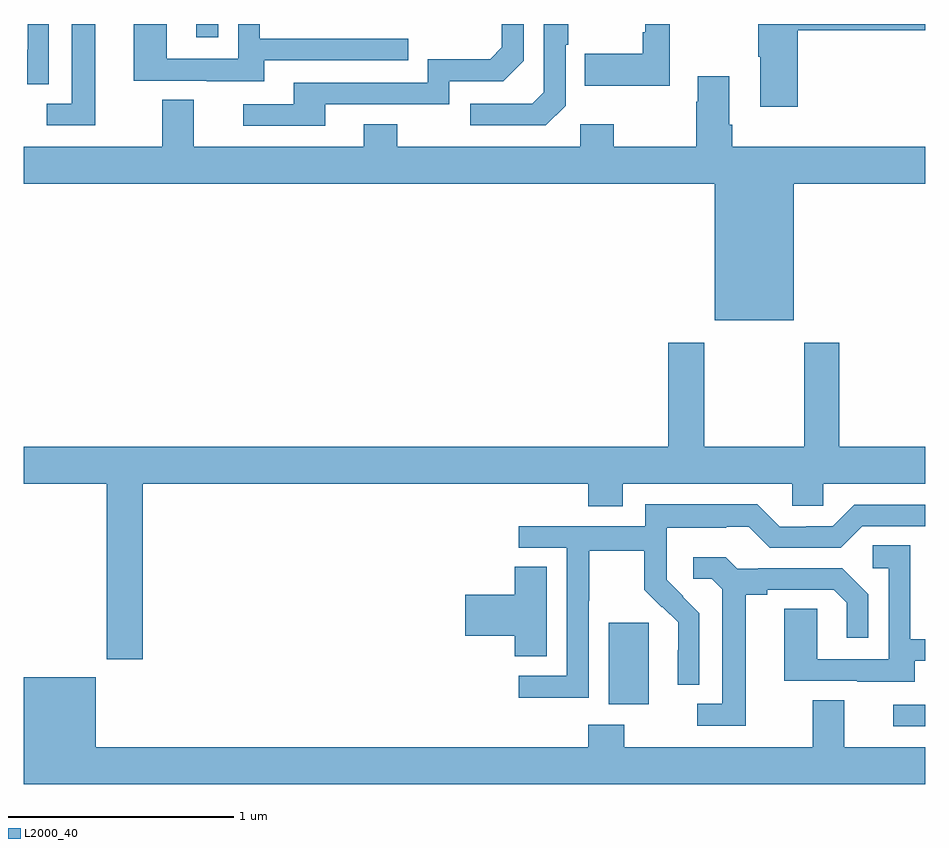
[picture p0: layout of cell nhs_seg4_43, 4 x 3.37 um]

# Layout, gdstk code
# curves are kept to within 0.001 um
import gdstk
lib = gdstk.Library(unit=1e-6, precision=1e-09)
def R(c, l, rs):  # rectangles x0, y0, x1, y1
    for r in rs: c.add(gdstk.rectangle(r[:2], r[2:], *l))
def P(c, l, *ps):  # polygons
    for p in ps: c.add(gdstk.Polygon(p, *l))
L2000_40 = (2000, 40)

nhs_seg4_43 = lib.new_cell('nhs_seg4_43')
R(nhs_seg4_43, L2000_40, [(116.859,755.784,117,755.88), (115.595,755.882,115.774,756.243), (113.765,758.841,113.862,758.9)])
P(nhs_seg4_43, L2000_40, [(116.435,758.872),(117,758.872),(117,758.9),(116.26,758.9),(116.26,758.755),(116.267,758.755),(116.267,758.532),(116.435,758.532)],
  [(115.404,758.538),(115.404,758.807),(115.417,758.807),(115.417,758.9),(115.308,758.9),(115.308,758.598),(115.257,758.547),(114.981,758.547),(114.981,758.451),(115.317,758.451)],
  [(113.112,758.9),(113.018,758.9),(113.018,758.786),(113.016,758.786),(113.016,758.632),(113.112,758.632)],
  [(114.067,758.739),(114.707,758.739),(114.707,758.835),(114.048,758.835),(114.048,758.9),(113.952,758.9),(113.952,758.745),(113.634,758.745),(113.634,758.9),(113.489,758.9),(113.489,758.649),(113.813,758.649),(113.813,758.645),(114.067,758.645)],
  [(115.867,758.9),(115.758,758.9),(115.758,758.863),(115.746,758.863),(115.746,758.767),(115.489,758.767),(115.489,758.627),(115.867,758.627)],
  [(114.337,758.544),(114.888,758.544),(114.888,758.646),(115.128,758.646),(115.218,758.736),(115.218,758.9),(115.122,758.9),(115.122,758.796),(115.069,758.743),(114.792,758.743),(114.792,758.64),(114.197,758.64),(114.197,758.544),(113.973,758.544),(113.973,758.448),(114.337,758.448)],
  [(113.317,758.9),(113.213,758.9),(113.213,758.547),(113.103,758.547),(113.103,758.451),(113.317,758.451)],
  [(116.416,758.192),(117,758.192),(117,758.356),(116.144,758.356),(116.144,758.452),(116.131,758.452),(116.131,758.668),(115.991,758.668),(115.991,758.555),(115.984,758.555),(115.984,758.356),(115.617,758.356),(115.617,758.455),(115.47,758.455),(115.47,758.356),(114.657,758.356),(114.657,758.455),(114.509,758.455),(114.509,758.356),(113.755,758.356),(113.755,758.564),(113.615,758.564),(113.615,758.356),(113,758.356),(113,758.192),(116.066,758.192),(116.066,757.586),(116.416,757.586)],
  [(113.528,756.86),(115.505,756.86),(115.505,756.761),(115.657,756.761),(115.657,756.86),(116.409,756.86),(116.409,756.762),(116.547,756.762),(116.547,756.86),(117,756.86),(117,757.024),(116.619,757.024),(116.619,757.486),(116.464,757.486),(116.464,757.024),(116.019,757.024),(116.019,757.486),(115.859,757.486),(115.859,757.024),(113,757.024),(113,756.86),(113.368,756.86),(113.368,756.081),(113.528,756.081)],
  [(115.506,756.34),(115.509,756.34),(115.509,756.564),(115.753,756.564),(115.753,756.389),(115.83,756.312),(115.833,756.315),(115.904,756.245),(115.904,756.122),(115.902,756.122),(115.902,755.968),(115.998,755.968),(115.998,756.286),(115.852,756.434),(115.852,756.531),(115.854,756.531),(115.854,756.665),(116.117,756.665),(116.117,756.669),(116.217,756.669),(116.31,756.576),(116.625,756.576),(116.721,756.672),(117,756.672),(117,756.768),(116.685,756.768),(116.589,756.672),(116.471,756.672),(116.471,756.669),(116.355,756.669),(116.255,756.769),(115.758,756.769),(115.758,756.672),(115.197,756.672),(115.197,756.576),(115.41,756.576),(115.41,756.009),(115.197,756.009),(115.197,755.911),(115.506,755.911)],
  [(116.953,756.075),(117,756.075),(117,756.171),(116.934,756.171),(116.934,756.587),(116.766,756.587),(116.766,756.486),(116.838,756.486),(116.838,756.081),(116.52,756.081),(116.52,756.305),(116.375,756.305),(116.375,755.985),(116.699,755.985),(116.699,755.981),(116.953,755.981)],
  [(116.203,756.368),(116.299,756.368),(116.299,756.39),(116.594,756.39),(116.651,756.333),(116.651,756.177),(116.748,756.177),(116.748,756.37),(116.632,756.486),(116.26,756.486),(116.26,756.483),(116.166,756.483),(116.114,756.535),(115.971,756.535),(115.971,756.438),(116.052,756.438),(116.099,756.391),(116.099,755.883),(115.989,755.883),(115.989,755.787),(116.203,755.787)],
  [(115.321,756.491),(115.178,756.491),(115.178,756.368),(114.96,756.368),(114.96,756.185),(115.178,756.185),(115.178,756.094),(115.321,756.094)],
  [(117,755.692),(116.641,755.692),(116.641,755.9),(116.501,755.9),(116.501,755.692),(115.665,755.692),(115.665,755.791),(115.505,755.791),(115.505,755.692),(113.32,755.692),(113.32,756.001),(113,756.001),(113,755.528),(117,755.528)])

lib.write_gds('nhs_seg4_43.gds')
